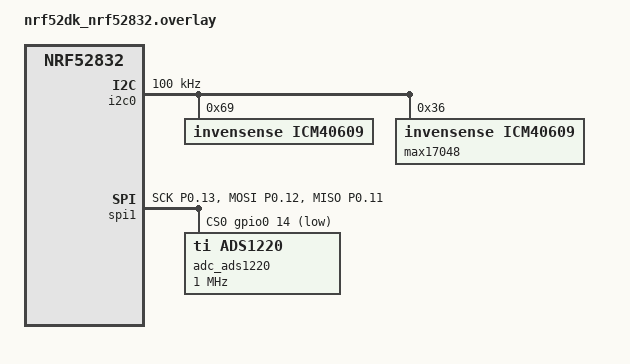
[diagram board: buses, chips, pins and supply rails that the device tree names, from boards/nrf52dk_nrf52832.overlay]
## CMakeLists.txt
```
cmake_minimum_required(VERSION 3.20.0)
find_package(Zephyr REQUIRED HINTS $ENV{ZEPHYR_BASE})

project(ME-507-Power-Meter)

# add_subdirectory(lib/icm20948)
add_subdirectory(lib/icm40609)
add_subdirectory(lib/max17048)
add_subdirectory(lib/ble)
add_subdirectory(lib/eekf)

target_sources(app PRIVATE
    src/main.c
    src/app_ipc.c
    src/imu_thread.c
    src/adc.c
    src/filter_thread.c
    src/battery_thread.c
    src/ble_thread.c
    src/power_meas.c
)
```

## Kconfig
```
# Kconfig

source "KConfig.zephyr"

menu "ME-507 Bicycle Power Meter"

config NUS_DEBUG_BUILD
    bool "Enable NUS debug build features"
    default n

endmenu
```

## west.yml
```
manifest:
  remotes:
    # START #####
    - name: badjeff
      url-base: https://github.com/badjeff
    # END #######
  projects:
    # START #####
    - name: ads1220-zephyr-module
      remote: badjeff
      revision: main
      path: modules/ads1220
    # END #######
```

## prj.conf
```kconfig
CONFIG_GPIO=y
CONFIG_I2C=y

# Enable FPU for eekf thread
CONFIG_FPU=y
CONFIG_FPU_SHARING=y

# ADC ADS1220 Driver enable
CONFIG_SPI=y
CONFIG_GPIO=y
CONFIG_ADC=y

# Enable analog axis hires input for ADS1220
CONFIG_INPUT=y
CONFIG_INPUT_ANALOG_AXIS_HIRES=y

# Bluetooth-LE configuration
CONFIG_BT=y
CONFIG_BT_PERIPHERAL=y
CONFIG_BT_DEVICE_NAME="ME-507 Power Meter"
CONFIG_BT_DEVICE_APPEARANCE=832
CONFIG_BT_EXT_ADV=y

# Thread startup synchronization
CONFIG_EVENTS=y
```

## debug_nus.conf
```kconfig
# Debug build flag
CONFIG_NUS_DEBUG_BUILD=y

## Bluetooth
CONFIG_BT_ZEPHYR_NUS=y
# CONFIG_BT_MAX_CONN=2


# RTT logging
CONFIG_RTT_CONSOLE=y
CONFIG_CONSOLE=y
CONFIG_LOG=y
CONFIG_USE_SEGGER_RTT=y
CONFIG_LOG_BACKEND_RTT=y
CONFIG_SEGGER_RTT_INIT_MODE_ALWAYS=y

CONFIG_CBPRINTF_FP_SUPPORT=y # Floating point support
CONFIG_NEWLIB_LIBC=y # Add'l floating point support
CONFIG_NEWLIB_LIBC_FLOAT_PRINTF=y

CONFIG_BT_GATT_CLIENT=y
CONFIG_BT_L2CAP_TX_MTU=247
CONFIG_BT_BUF_ACL_TX_SIZE=251
CONFIG_BT_BUF_ACL_RX_SIZE=251
```

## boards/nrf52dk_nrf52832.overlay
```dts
/* SPI pin selections for the ADS1220 */
#include <zephyr/dt-bindings/pinctrl/nrf-pinctrl.h>
#include <dt-bindings/spi/spi.h>
#include <dt-bindings/gpio/gpio.h>

&i2c0 {
    compatible = "nordic,nrf-twim";
    status = "okay";
    pinctrl-0 = <&i2c0_default>;
    pinctrl-1 = <&i2c0_sleep>;
    pinctrl-names = "default", "sleep";
    // clock-frequency = <I2C_BITRATE_FAST>;
    clock-frequency = <I2C_BITRATE_STANDARD>;

    // icm20948: icm20948@69 {
        //     compatible = "invensense,icm20948";
        //     reg = <0x69>;
        //     status = "okay";
    // };
    icm40609: icm40609@69 {
        compatible = "invensense,icm40609";
        reg = <0x69>;
        status = "okay";
    };

    max17048: max17048@36 {
        compatible = "invensense,icm40609";
        reg = <0x36>;
        status = "okay";
    };
};

&pinctrl {
    spi1_default: spi1_default {
        group1 {
            psels = <NRF_PSEL(SPIM_SCK, 0, 13)>,
                    <NRF_PSEL(SPIM_MOSI, 0, 12)>,
                    <NRF_PSEL(SPIM_MISO, 0, 11)>;
        };
    };

    spi1_sleep: spi1_sleep {
        group1 {
            psels = <NRF_PSEL(SPIM_SCK, 0, 13)>,
                    <NRF_PSEL(SPIM_MOSI, 0, 12)>,
                    <NRF_PSEL(SPIM_MISO, 0, 11)>;
            low-power-enable;
        };
    };
};


&spi1 {
    compatible = "nordic,nrf-spim";
    status = "okay";

    pinctrl-0 = <&spi1_default>;
    pinctrl-1 = <&spi1_sleep>;
    pinctrl-names = "default", "sleep";

    cs-gpios = <&gpio0 14 GPIO_ACTIVE_LOW>;

    adc_ads1220: adc_ads1220@0 {
        compatible = "ti,ads1220";
        reg = <0>;
        status = "okay";

        spi-max-frequency = <1000000>;

        #io-channel-cells = <1>;
        #address-cells = <1>;
        #size-cells = <0>;

        /*
        Setup for Wheatstone bridges
        ref: https: //wolles-elektronikkiste.de/en/ads1220-part-2-applications
        REFP1: Load cell Wire RED & AVCC
        AIN1: Load cell Wire Green
        AIN2: Load cell Wire White
        REFN1: Load cell Wire Black & GND
         */

        adc_ads1220_ch0: channel@0 {
            reg = <0>;
            zephyr,resolution = <24>;
            zephyr,gain = "ADC_GAIN_128";
            zephyr,reference = "ADC_REF_EXTERNAL1";
            zephyr,acquisition-time = <175>; // 175 SPS > 125Hz

            zephyr,input-positive = <1>; // AIN1
            zephyr,input-negative = <2>; // AIN2
        };
    };
};

#include <zephyr/dt-bindings/input/input-event-codes.h>

/{
    /*
    Setup the forked version of Zephyr's `analog-axis` input driver,
    'hires' menas 14-bit buffering.
    Literally, enlarged all int16_t to int13_t.
     */
    anin0: analog_axis_hires_0 {
        compatible = "analog-axis-hires";
        status = "okay";

        axis-y {
            io-channels = <&adc_ads1220 0>;
            in-min = <(-3000000)>;
            in-max = <3000000>;

            /* Ignore small fluctuations around center to reduce chatter */
            in-deadzone = <0>;

            /* Map to a signed 16-bit output range (useful for consumers expecting
             * negative and positive axis values). Change if you prefer 0..65535.
             */
            out-min = <( -32768)>;
            out-max = <( 32767)>;
            // skip-change-comparator; /* uncomment this to debug */

            zephyr,axis-type = <INPUT_EV_ABS>;
            zephyr,axis = <INPUT_ABS_Y>;
        };
    };
};

&button0 {
    status = "disabled";
};

&button1 {
    status = "disabled";
};

&button2 {
    status = "disabled";
};

&button3 {
    status = "disabled";
};

&led0 {
    status = "disabled";
};

&led1 {
    status = "disabled";
};

&led2 {
    status = "disabled";
};

&led3 {
    status = "disabled";
};
&arduino_adc {
    io-channel-map = <0 &adc 1>, <1 &adc 2>, <2 &adc 4>, <3 &adc 5>, <4 &adc 6>, <5 &adc 7>;
};
```

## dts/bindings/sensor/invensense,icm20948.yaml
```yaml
description: InvenSense ICM-20948 9-axis IMU

compatible: "invensense,icm20948"

include:
  - base.yaml
  - i2c-device.yaml
```

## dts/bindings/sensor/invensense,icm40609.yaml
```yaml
description: InvenSense ICM-40609 6-axis IMU

compatible: "invensense,icm40609"

include:
  - base.yaml
  - i2c-device.yaml
```

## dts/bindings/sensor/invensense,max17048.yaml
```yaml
description: MAX17048 Battery Monitor

compatible: "invensense,max17048"

include:
  - base.yaml
  - i2c-device.yaml
```

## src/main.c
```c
/**
 * @file main.c
 * @author Gabe Haarberg
 * @brief Bicycle Power Meter project for ME-507 Spring 2026 at Cal Poly SLO.
 * @version 0.1
 * @date 2026-05-20
 *
 * @copyright Copyright (c) 2026
 *
 *
 * Written to be run on custom nRF52832-based PCB. Individual thread functions can be found in their src/ *_thread.c files
 */

/** BEGIN INCLUDES **/
// System
#include <stdio.h>
#include <zephyr/kernel.h>
#include <zephyr/logging/log.h>

#include "app_ipc.h"

/** END INCLUDES **/

/** Logger configuration **/
// LOG_MODULE_REGISTER(app, LOG_LEVEL_INF);
LOG_MODULE_REGISTER(app, LOG_LEVEL_DBG);

/**
 * @brief Zephyr thread for sending messages to RTT terminal
 *
 * Messages are sent as a char array pointer to the FIFO buffer
 */
void rtt_thread(void)
{
    // Post READY bit to sync event share
    k_event_post(&thread_sync_event, RTT_THREAD_READY);

    // Continue to main loop after START bit received
    k_event_wait(&thread_sync_event, START_BIT, false, K_FOREVER);

    return;
    // while (1)
    // {
    //     char *rx_data = k_fifo_get(&printk_fifo, K_FOREVER);

    //     puts(rx_data);
    //     k_free(rx_data);
    // }
}

/**
 * @brief Main thread. Coordinates all thread setup before allowing them to enter their loops
 *
 * See coordination configuration in app_ipc.h
 *
 */
int main(void)
{
    // Wait for all READY bit flags to be set
    // k_event_wait_all(&thread_sync_event, ALL_READY, false, K_FOREVER);
    LOG_INF("Waiting for threads to be ready");

    uint32_t events = 0;
    for (int i = 0; i < 10; i++)
    {
        events = k_event_test(&thread_sync_event, ALL_READY);

        LOG_DBG("Events: 0x%x", events);

        if ((events & ALL_READY) != ALL_READY)
            k_sleep(K_SECONDS(1));
        else
            break;
    }

    LOG_DBG("Checking events");
    events = k_event_wait_all(
        &thread_sync_event,
        ALL_READY,
        false,
        K_NO_WAIT);

    // Log error if not all threads started in time
    if ((events & ALL_READY) != ALL_READY)
    {
        LOG_ERR("Not all threads became ready. Got 0x%08X", events);
    }

    // Notify tasks to continue by setting START bit
    k_event_post(&thread_sync_event, START_BIT);

    LOG_DBG("Start bit sent to all threads");

    return 0; // Main thread no longer needed
}

K_THREAD_DEFINE(rtt_thread_id, STACKSIZE, rtt_thread, NULL, NULL, NULL, 7, 0, 0);
```

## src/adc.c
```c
/**
 * @file adc.c
 * @author Gabe Haarberg
 * @brief Thread and helpers for reading from strain gauge ADC
 * @version 0.1
 * @date 2026-05-31
 *
 * @copyright Copyright (c) 2026
 *
 */
#include "adc.h"

#include <stdio.h>

LOG_MODULE_REGISTER(adc, LOG_LEVEL_INF);
// LOG_MODULE_REGISTER(adc, LOG_LEVEL_DBG);

/**
 * @brief Input event callback (called by the Zephyr input subsystem)
 *
 * Receives fully-processed events from the analog-axis driver.
 * The driver already handles all scaling, deadzone, and clamping via DTS.
 * We just queue the mapped value for printing.
 */
static void input_evt_cb(struct input_event *evt, void *user_data)
{
    // ARG_UNUSED(dev);
    ARG_UNUSED(user_data);

    /* Filter for Y axis absolute position events */
    if (evt->type == INPUT_EV_ABS && evt->code == INPUT_ABS_Y)
    {
        LOG_DBG("Y-Axis value received: %d", evt->value);

        k_mutex_lock(&axis_latest_lock, K_FOREVER);
        axis_latest_value = evt->value;
        k_mutex_unlock(&axis_latest_lock);
    }
    else
    {
        LOG_DBG("Received event type: %d code: %d", evt->type, evt->code);
    }
}

INPUT_CALLBACK_DEFINE(
    NULL,
    input_evt_cb,
    NULL);
```

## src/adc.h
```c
#ifndef ADC_H
#define ADC_H

#include <zephyr/kernel.h>
#include <zephyr/logging/log.h>
#include <zephyr/drivers/adc.h>
#include <zephyr/input/input.h>
#include "app_ipc.h"

static void input_evt_cb(struct input_event *evt, void *user_data);

#endif /* ADC_H */
```

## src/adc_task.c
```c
/**
 * @file adc_task.c
 * @author Gabe Haarberg
 * @brief Task and helpers for reading from strain gauge ADC
 * @version 0.1
 * @date 2026-05-31
 *
 * @copyright Copyright (c) 2026
 *
 */
#include "adc_task.h"

#include <stdio.h>

LOG_MODULE_REGISTER(adc, LOG_LEVEL_INF);

K_MEM_SLAB_DEFINE(axis_data_slab,
                  sizeof(struct axis_data),
                  AXIS_DATA_SLAB_NUM_BLOCKS,
                  AXIS_DATA_SLAB_ALIGNMENT);

/**
 * @brief RTOS Task for reading values from the ADC
 *
 * Registers the analog-axis callback, then continuously reads mapped axis
 * values from the axis_fifo queue and forwards them to RTT via printk_fifo.
 */
static void adc_task(void)
{
    /* Main loop: read axis values from callback queue and print */
    while (1)
    {
        /* Get axis data from FIFO with timeout to keep responsiveness */
        struct axis_data *axis_msg = k_fifo_get(&axis_fifo, K_FOREVER);
        if (axis_msg)
        {
            char *mem_ptr = k_malloc(64);
            if (mem_ptr)
            {
                sprintf(mem_ptr, "Axis ch%d: %d", axis_msg->channel, (int)axis_msg->value);
                k_fifo_put(&printk_fifo, mem_ptr);
            }
            k_mem_slab_free(&axis_data_slab, (void *)axis_msg);
        }
    }
}

/**
 * @brief Input event callback (called by the Zephyr input subsystem)
 *
 * Receives fully-processed events from the analog-axis driver.
 * The driver already handles all scaling, deadzone, and clamping via DTS.
 * We just queue the mapped value for printing.
 */
static void input_evt_cb(struct input_event *evt, void *user_data)
{
    // ARG_UNUSED(dev);
    ARG_UNUSED(user_data);

    /* Filter for Y axis absolute position events */
    if (evt->type == INPUT_EV_ABS && evt->code == INPUT_ABS_Y)
    {
        LOG_DBG("Y-Axis value received: %d", evt->value);

        struct axis_data *axis_msg;
        if (k_mem_slab_alloc(&axis_data_slab, (void **)&axis_msg, K_NO_WAIT) == 0)
        {
            axis_msg->channel = 0;
            axis_msg->value = evt->value; /* Already scaled/clamped by driver */
            k_fifo_put(&axis_fifo, axis_msg);
        }
        else
        {
            LOG_WRN("Failed to allocate memory for axis slab item");
        }
    }
    else
    {
        LOG_DBG("Received event type: %d code: %d", evt->type, evt->code);
    }
}

K_THREAD_DEFINE(adc_task_id, STACKSIZE, adc_task, NULL, NULL, NULL, 7, 0, 0);

INPUT_CALLBACK_DEFINE(
    // DEVICE_DT_GET(DT_NODELABEL(anin0)),
    NULL,
    input_evt_cb,
    NULL);
```

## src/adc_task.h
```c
#ifndef ADC_TASK_H
#define ADC_TASK_H

#include <zephyr/kernel.h>
#include <zephyr/logging/log.h>
#include <zephyr/drivers/adc.h>
#include <zephyr/input/input.h>
#include <stdio.h>
// #include <zephyr/device.h>
// #include <zephyr/devicetree.h>
#include "app_ipc.h"

static void adc_task(void);

static void input_evt_cb(struct input_event *evt, void *user_data);

#endif /* ADC_TASK_H */
```

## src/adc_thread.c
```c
/**
 * @file adc_thread.c
 * @author Gabe Haarberg
 * @brief Thread and helpers for reading from strain gauge ADC
 * @version 0.1
 * @date 2026-05-31
 *
 * @copyright Copyright (c) 2026
 *
 */
#include "adc_thread.h"

#include <stdio.h>

LOG_MODULE_REGISTER(adc, LOG_LEVEL_INF);
// LOG_MODULE_REGISTER(adc, LOG_LEVEL_DBG);

K_MEM_SLAB_DEFINE(axis_data_slab,
                  sizeof(struct axis_data),
                  AXIS_DATA_SLAB_NUM_BLOCKS,
                  AXIS_DATA_SLAB_ALIGNMENT);

// TODO: DELTE THIS THREAD. ALL INPUTS WILL BE HANDLED BY BUILT IN AXIS THREAD(s)
/**
 * @brief Zephyr thread for reading values from the ADC
 *
 * Registers the analog-axis callback, then continuously reads mapped axis
 * values from the axis_fifo queue and forwards them to RTT via printk_fifo.
 */
// static void adc_thread(void)
// {
//     // Post READY bit to sync event share
//     k_event_post(&thread_sync_event, ADC_THREAD_READY);

//     LOG_DBG("Thread ready");

//     // Continue to main loop after START bit received
//     k_event_wait(&thread_sync_event, START_BIT, false, K_FOREVER);

//     LOG_DBG("Thread started");

//     return; // (thread no longer used. TODO: delete)

//     /* Main loop: read axis values from callback queue and print */
//     // while (1)
//     // {
//     // /* Get axis data from FIFO with timeout to keep responsiveness */
//     // struct axis_data *axis_msg = k_fifo_get(&axis_fifo, K_FOREVER);
//     // if (axis_msg)
//     // {
//     //     char *mem_ptr = k_malloc(64);
//     //     if (mem_ptr)
//     //     {
//     //         sprintf(mem_ptr, "Axis ch%d: %d", axis_msg->channel, (int)axis_msg->value);
//     //         k_fifo_put(&printk_fifo, mem_ptr);
//     //     }
//     //     k_mem_slab_free(&axis_data_slab, (void *)axis_msg);
//     // }
//     // }
// }

/**
 * @brief Input event callback (called by the Zephyr input subsystem)
 *
 * Receives fully-processed events from the analog-axis driver.
 * The driver already handles all scaling, deadzone, and clamping via DTS.
 * We just queue the mapped value for printing.
 */
static void input_evt_cb(struct input_event *evt, void *user_data)
{
    // ARG_UNUSED(dev);
    ARG_UNUSED(user_data);

    /* Filter for Y axis absolute position events */
    if (evt->type == INPUT_EV_ABS && evt->code == INPUT_ABS_Y)
    {
        LOG_DBG("Y-Axis value received: %d", evt->value);

        // struct axis_data *axis_msg;
        // if (k_mem_slab_alloc(&axis_data_slab, (void **)&axis_msg, K_NO_WAIT) == 0)
        // {
        //     axis_msg->channel = 0;
        //     axis_msg->value = evt->value; /* Already scaled/clamped by driver */
        //     k_fifo_put(&axis_fifo, axis_msg);
        // }
        // else
        // {
        //     LOG_WRN("Failed to allocate memory for axis slab item");
        // }
        k_mutex_lock(&axis_latest_lock, K_FOREVER);
        axis_latest_value = evt->value;
        k_mutex_unlock(&axis_latest_lock);
    }
    else
    {
        LOG_DBG("Received event type: %d code: %d", evt->type, evt->code);
    }
}

// K_THREAD_DEFINE(adc_thread_id, STACKSIZE, adc_thread, NULL, NULL, NULL, 7, 0, 0);

INPUT_CALLBACK_DEFINE(
    // DEVICE_DT_GET(DT_NODELABEL(anin0)),
    NULL,
    input_evt_cb,
    NULL);
```

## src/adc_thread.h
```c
#ifndef ADC_THREAD_H
#define ADC_THREAD_H

#include <zephyr/kernel.h>
#include <zephyr/logging/log.h>
#include <zephyr/drivers/adc.h>
#include <zephyr/input/input.h>
#include <stdio.h>
#include "app_ipc.h"

static void adc_thread(void);

static void input_evt_cb(struct input_event *evt, void *user_data);

#endif /* ADC_THREAD_H */
```

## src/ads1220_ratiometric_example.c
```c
/*
 * Simple Zephyr example for using ADS1220 DOUT/!DRDY as both DRDY and MISO
 * and performing ratiometric measurements across AIN1/AIN2 and AIN3/AIN4.
 *
 * This file demonstrates the pattern: wait for DRDY (GPIO falling edge),
 * assert CS, perform a 3-byte SPI read of the conversion, deassert CS,
 * then switch the ADS1220 multiplexer to the next channel pair.
 *
 * NOTE: Fill the ADS1220 command/register opcodes as needed per your
 * ADS1220 datasheet. The example uses placeholders for register write
 * commands so the SPI/DRDY pattern and Zephyr API usage are clear.
 */

#include <zephyr.h>
#include <device.h>
#include <drivers/spi.h>
#include <drivers/gpio.h>
#include <sys/printk.h>
#include <sys/util.h>

/* Adjust these to match your board overlay */
#define SPI_DEV_LABEL "SPI_1"
#define CS_GPIO_LABEL "GPIO_0"
#define CS_PIN 14
#define DRDY_GPIO_LABEL "GPIO_0"
#define DRDY_PIN 4

/* ADS1220 command opcodes (common values - verify with your datasheet) */
#define ADS1220_CMD_RESET 0x06
#define ADS1220_CMD_START 0x08
#define ADS1220_CMD_RDATA 0x10
#define ADS1220_CMD_RREG 0x20
#define ADS1220_CMD_WREG 0x40

/* NOTE: The register layout (which register contains the MUX bits) must be
 * verified against the ADS1220 datasheet for correct mux writes. The helper
 * functions below use the common WREG/RREG command prefixes.
 */

static const struct device *spi_dev;
static const struct device *cs_dev;
static const struct device *drdy_dev;

static struct gpio_callback drdy_cb_data;

static struct spi_config spi_cfg = {
    .frequency = 1000000U,
    .operation = SPI_WORD_SET(8) | SPI_TRANSFER_MSB,
    .slave = 0,
    .cs = NULL,
};

/* Simple helper: assert/deassert CS via GPIO */
static inline void cs_assert(void)
{
    gpio_pin_set(cs_dev, CS_PIN, 0);
}

static inline void cs_deassert(void)
{
    gpio_pin_set(cs_dev, CS_PIN, 1);
}

/* Read 3-byte conversion result from ADS1220 (MSB first). */
static int ads1220_read_conversion(int32_t *out_sample)
{
    uint8_t tx[3] = {0x00, 0x00, 0x00};
    uint8_t rx[3];
    const struct spi_buf tx_buf = {.buf = tx, .len = sizeof(tx)};
    const struct spi_buf rx_buf = {.buf = rx, .len = sizeof(rx)};
    const struct spi_buf_set tx_set = {.buffers = &tx_buf, .count = 1};
    const struct spi_buf_set rx_set = {.buffers = &rx_buf, .count = 1};

    cs_assert();
    int rc = spi_transceive(spi_dev, &spi_cfg, &tx_set, &rx_set);
    cs_deassert();
    if (rc)
    {
        return rc;
    }

    /* 24-bit signed two's complement -> sign-extend to 32-bit */
    int32_t val = (rx[0] << 16) | (rx[1] << 8) | rx[2];
    if (val & 0x800000)
    {
        val |= 0xFF000000;
    }
    *out_sample = val;
    return 0;
}

/* Write one register byte (placeholder implementation) */
static int ads1220_write_register(uint8_t reg_addr, uint8_t value)
{
    uint8_t tx[2];
    /* Build WREG command: base | reg_addr (datasheet-specific) */
    tx[0] = ADS1220_WREG | (reg_addr & 0x07);
    tx[1] = value;

    const struct spi_buf tx_buf = {.buf = tx, .len = 2};
    const struct spi_buf_set tx_set = {.buffers = &tx_buf, .count = 1};

    cs_assert();
    int rc = spi_write(spi_dev, &spi_cfg, &tx_set);
    cs_deassert();
    return rc;
}

/* Configure MUX for differential pair: ainp, ainn (1-based AIN numbers) */
static int ads1220_set_mux(uint8_t ainp, uint8_t ainn)
{
    /* Translate AIN numbers to ADS1220 MUX bits per datasheet. This is
     * device-specific; replace the following example with the correct
     * encoding from the ADS1220 register map.
     */
    uint8_t mux_bits = 0;
    /* placeholder mapping - user must replace with real mapping */
    mux_bits = ((ainp & 0x07) << 3) | (ainn & 0x07);

    /* Example: write to CONFIG register 0 (reg 0) with mux bits shifted
     * into the proper position. Replace with correct register layout.
     */
    uint8_t reg0 = (mux_bits & 0x3F);
    return ads1220_write_register(0x00, reg0);
}

/* Work item triggered from DRDY GPIO callback to read a conversion */
static void ads1220_work_handler(struct k_work *work);
K_WORK_DEFINE(ads1220_read_work, ads1220_work_handler);
/* Initialize ADS1220 example: configure CS and DRDY GPIO, set initial MUX and
 * trigger a conversion. The DRDY callback will schedule reads asynchronously.
 */
int ads1220_ratiometric_example_init(void)
{
    printk("ADS1220 ratiometric example init\n");

    spi_dev = device_get_binding(SPI_DEV_LABEL);
    if (!spi_dev)
    {
        printk("SPI device %s not found\n", SPI_DEV_LABEL);
        return -ENODEV;
    }

    cs_dev = device_get_binding(CS_GPIO_LABEL);
    if (!cs_dev)
    {
        printk("CS gpio %s not found\n", CS_GPIO_LABEL);
        return -ENODEV;
    }

    drdy_dev = device_get_binding(DRDY_GPIO_LABEL);
    if (!drdy_dev)
    {
        printk("DRDY gpio %s not found\n", DRDY_GPIO_LABEL);
        return -ENODEV;
    }

    gpio_pin_configure(cs_dev, CS_PIN, GPIO_OUTPUT_HIGH);

    /* Configure DRDY as input with pull-up and falling-edge trigger */
    gpio_pin_configure(drdy_dev, DRDY_PIN, GPIO_INPUT | GPIO_PULL_UP);
    gpio_init_callback(&drdy_cb_data, drdy_gpio_callback, BIT(DRDY_PIN));
    gpio_add_callback(drdy_dev, &drdy_cb_data);
    gpio_pin_interrupt_configure(drdy_dev, DRDY_PIN, GPIO_INT_EDGE_TO_ACTIVE);

    /* Set initial MUX to AIN1/AIN2 */
    ads1220_set_mux(1, 2);

    /* Start a conversion (common START opcode) */
    uint8_t cmd = ADS1220_CMD_START;
    const struct spi_buf tx_buf = {.buf = &cmd, .len = 1};
    const struct spi_buf_set tx_set = {.buffers = &tx_buf, .count = 1};
    cs_assert();
    spi_write(spi_dev, &spi_cfg, &tx_set);
    cs_deassert();

    return 0;
}
return;
}

gpio_pin_configure(cs_dev, CS_PIN, GPIO_OUTPUT_HIGH);

/* Configure DRDY as input with falling-edge trigger */
gpio_pin_configure(drdy_dev, DRDY_PIN, GPIO_INPUT | GPIO_PULL_UP);
gpio_init_callback(&drdy_cb_data, drdy_gpio_callback, BIT(DRDY_PIN));
gpio_add_callback(drdy_dev, &drdy_cb_data);
gpio_pin_interrupt_configure(drdy_dev, DRDY_PIN, GPIO_INT_EDGE_TO_INACTIVE);

/* Example sequence: measure differential AIN1-AIN2, then AIN3-AIN4 */
while (1)
{
    /* Set MUX to AIN1/AIN2 */
    ads1220_set_mux(1, 2);
    /* Start a conversion if required by your device */
    /* e.g., send START command: */
    /* cs_assert(); spi_write(... START ...); cs_deassert(); */

    /* Wait for DRDY callback to read result (or poll) */
    k_sleep(K_MSEC(200));

    /* Then switch to AIN3/AIN4 */
    ads1220_set_mux(3, 4);
    /* trigger conversion as needed and wait */
    k_sleep(K_MSEC(200));
}
}
```

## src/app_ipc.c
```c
/**
 * @file app_ipc.c
 * @brief Inter-process communication setup
 * @version 0.1
 * @date 2026-06-11
 *
 * @copyright Copyright (c) 2026
 *
 */
#include "app_ipc.h"

K_EVENT_DEFINE(thread_sync_event);

K_FIFO_DEFINE(axis_fifo);

K_FIFO_DEFINE(imu_fifo);

K_FIFO_DEFINE(printk_fifo);

K_FIFO_DEFINE(filter_fifo);

K_FIFO_DEFINE(ble_fifo);

K_MUTEX_DEFINE(axis_latest_lock);
int32_t axis_latest_value = 0;
```

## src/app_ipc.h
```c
#ifndef APP_IPC_H
#define APP_IPC_H

#include <zephyr/kernel.h>

/** Threading configuration**/
#define STACKSIZE 1024             // Stack area used by each thread
#define IMU_DATA_SLAB_NUM_BLOCKS 5 // Number of blocks to allocate for IMU memory slab
#define IMU_DATA_SLAB_ALIGNMENT 8  // Need 8 because data is dealing with int64_t
#define AXIS_DATA_SLAB_NUM_BLOCKS 5
#define AXIS_DATA_SLAB_ALIGNMENT 8
#define BLE_DATA_SLAB_NUM_BLOCKS 5
#define BLE_DATA_SLAB_ALIGNMENT 8

/** Thread coordination */
#define ADC_THREAD_READY BIT(0)
#define BATTERY_THREAD_READY BIT(1)
#define BLE_THREAD_READY BIT(2)
#define FILTER_THREAD_READY BIT(3)
#define IMU_THREAD_READY BIT(4)
#define RTT_THREAD_READY BIT(5)
#define PWR_THREAD_READY BIT(6)

#define ALL_READY (/* ADC_THREAD_READY | */                 \
                   BATTERY_THREAD_READY |                   \
                   BLE_THREAD_READY | FILTER_THREAD_READY | \
                   IMU_THREAD_READY | RTT_THREAD_READY |    \
                   PWR_THREAD_READY)

#define START_BIT BIT(7) // START BIT is 1 higher than highest thread bit

/** IMU Timing */
#define IMU_PERIOD 50 // IMU data update period in milliseconds

#define FORWARD_DIR // Gyro in right-hand-rule
// #define REVERSE_DIR // Gyro in left-hand-rule

/**
 * @brief Struct containing relevant info from IMU
 *
 * @param accel_x Acceleration in X-dir [ g ]
 * @param accel_y Acceleration in Y-dir [ g ]
 * @param accel_z Acceleration in Z-dir [ g ]
 * @param gyro_x  Gyro angular vel in X-dir [ dps ]
 * @param gyro_y  Gyro angular vel in Y-dir [ dps ]
 * @param gyro_z  Gyro angular vel in Z-dir [ dps ]
 * @param ts Timestamp. Millis since boot [ ms ]
 */
struct imu_data_t
{
    float accel_x; // Acceleration in X-dir [ g ]
    float accel_y; // Acceleration in Y-dir [ g ]
    float accel_z; // Acceleration in Z-dir [ g ]
    float gyro_x;  // Gyro angular vel in X-dir [ dps ]
    float gyro_y;  // Gyro angular vel in Y-dir [ dps ]
    float gyro_z;  // Gyro angular vel in Z-dir [ dps ]
    int64_t ts;    // Timestamp. Millis since boot [ ms ]
};

/**
 * @brief Struct containing data to be sent via BLE
 *
 * @param power Estimated power output at cranks [W]
 */
struct ble_data_t
{
    uint16_t initialized; // Honestly just a place holder to make this struct of size 8U for slab alignment
    uint16_t power;       // Estimated power output [W]
    uint16_t crank_index;
    uint16_t crank_event_time;
};

/**
 * @brief Struct containing outputs from Kalman filter
 *
 */
struct filter_data_t
{
    float theta;               // Estimated angle [rad]
    float omega;               // Estimated omega [rad/s]
    uint16_t crank_index;      // Rotation index (used for CPS)
    uint16_t crank_event_time; // Rotation time (used for CPS)
    int64_t ts;                // Uptime timestamps [ms]
};

/**
 * @brief Event with mask to sync thread startup process
 *
 */
extern struct k_event thread_sync_event;

/**
 * @brief FIFO buffer of pointers to `imu_data_t` data packets
 * stored on `imu_data_slab`
 *
 */
extern struct k_fifo imu_fifo;

/**
 * @brief Zephyr-based memory management for IMU data
 *
 */
extern struct k_mem_slab imu_data_slab;

/**
 * @brief FIFO buffer of pointers to `ble_data_t` data packets
 * stored on `ble_data_slab`
 *
 */
extern struct k_fifo ble_fifo;

/**
 * @brief Zephyr-based memory management for cycling data to be sent over BLE
 *
 */
extern struct k_mem_slab ble_data_slab;

/**
 * @brief FIFO buffer of pointers to `filter_data_t` data packets
 * stored on `filter_data_slab`
 *
 */
extern struct k_fifo filter_fifo;

/**
 * @brief Zephyr-based memory management for IMU data
 *
 */
extern struct k_mem_slab filter_data_slab;

/**
 * @brief Mutex for axis (Strain gauge ADC) value sharing
 * so that no task is reading the value while another is
 * writing to it
 *
 */
extern struct k_mutex axis_latest_lock;

/**
 * @brief Shared strain gauge ADC value. Take `axis_latest_lock` mutex
 * before accessing.
 *
 */
extern int32_t axis_latest_value;

#endif /* APP_IPC_H */
```

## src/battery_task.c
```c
#include "battery_task.h"

LOG_MODULE_REGISTER(batt, LOG_LEVEL_INF);

static batt_mon_t batt_mon = I2C_DT_SPEC_GET(MAX17048_NODE);

/**
 * @brief RTOS Task for battery monitoring
 *
 */
static void battery_monitor_task(void)
{

    if (battery_monitor_init(&batt_mon)) // return 0 when properly configured
    {
        return;
    }

    while (1)
    {
        // uint8_t pct = battery_monitor_read_soc(&batt_mon);

        // char *mem_ptr = k_malloc(32);
        // sprintf(mem_ptr, "Battery SOC: %d%%", pct);
        // k_fifo_put(&printk_fifo, mem_ptr);

        uint16_t volts = battery_monitor_read_voltage(&batt_mon); // Value is returned in millivolts

        char *mem_ptr = k_malloc(32);
        sprintf(mem_ptr, "Battery voltage: %dmV", volts);
        k_fifo_put(&printk_fifo, mem_ptr);

        k_sleep(K_SECONDS(5));
    }
}

K_THREAD_DEFINE(battery_task_id, STACKSIZE, battery_monitor_task, NULL, NULL, NULL, 7, 0, 0);
```

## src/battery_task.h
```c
#ifndef BATT_MON_H
#define BATT_MON_H

#include <stdio.h>
#include <zephyr/kernel.h>
#include <zephyr/logging/log.h>
#include "max17048.h"
#include "app_ipc.h"

#if !DT_NODE_EXISTS(MAX17048_NODE)
#error "No MAX17048 battery monitor node found in devicetree"
#endif

static void battery_monitor_task(void);

#endif /* BATT_MON_H */
```

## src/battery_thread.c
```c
/**
 * @file battery_thread.c
 * @brief File containing thread configuration for battery monitoring
 * @version 0.1
 * @date 2026-06-11
 *
 * @copyright Copyright (c) 2026
 *
 */
#include "battery_thread.h"

LOG_MODULE_REGISTER(batt, LOG_LEVEL_INF);

static batt_mon_t batt_mon = I2C_DT_SPEC_GET(MAX17048_NODE);

/**
 * @brief Zephyr thread for battery monitoring
 *
 */
static void battery_monitor_thread(void)
{

    if (battery_monitor_init(&batt_mon)) // return 0 when properly configured
    {
        // Post READY bit to sync event share
        k_event_post(&thread_sync_event, BATTERY_THREAD_READY);
        LOG_DBG("Thread ready");

        return;
    }

    // Post READY bit to sync event share
    k_event_post(&thread_sync_event, BATTERY_THREAD_READY);

    LOG_DBG("Thread ready");

    // Continue to main loop after START bit received
    k_event_wait(&thread_sync_event, START_BIT, false, K_FOREVER);

    LOG_DBG("Thread started");

    while (1)
    {
        // uint8_t pct = battery_monitor_read_soc(&batt_mon);

        uint16_t volts = battery_monitor_read_voltage(&batt_mon); // Value is returned in millivolts

        LOG_INF("Batt voltage: %dmV", volts);

        k_sleep(K_SECONDS(5));
    }
}

K_THREAD_DEFINE(battery_thread_id, STACKSIZE, battery_monitor_thread, NULL, NULL, NULL, 1, 0, 0); // Low priority
```
